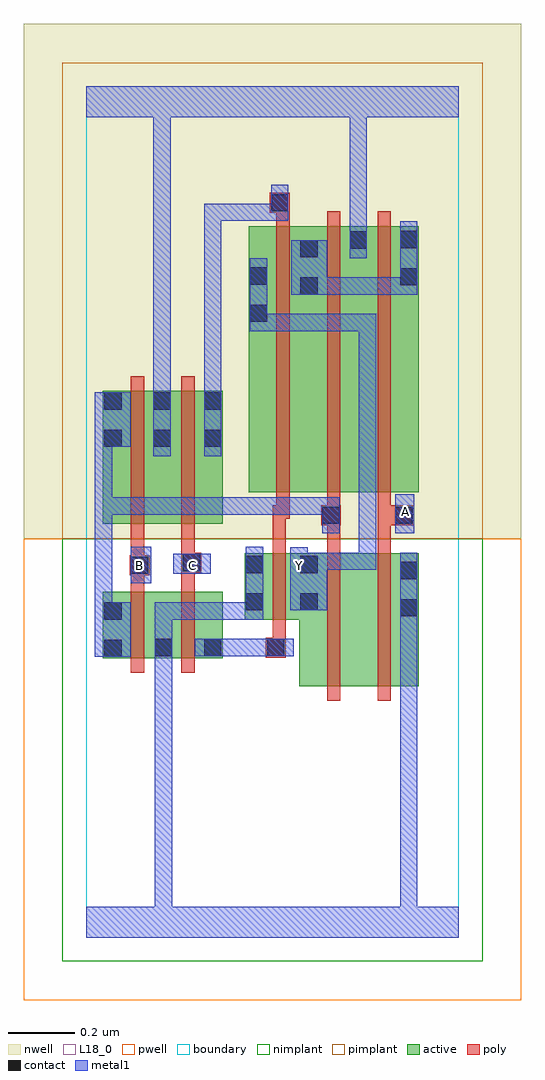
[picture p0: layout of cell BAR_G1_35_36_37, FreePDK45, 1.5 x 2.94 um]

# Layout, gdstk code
import gdstk
lib = gdstk.Library(unit=1e-6, precision=1e-09)
def R(c, l, rs):  # rectangles x0, y0, x1, y1
    for r in rs: c.add(gdstk.rectangle(r[:2], r[2:], *l))
def A(c, l, x, y, w, h, nx, ny, dx, dy):  # array of equal rectangles
    R(c, l, [(x+i*dx, y+j*dy, x+i*dx+w, y+j*dy+h) for i in range(nx) for j in range(ny)])
active = (1, 0)
pwell = (2, 0)
nwell = (3, 0)
nimplant = (4, 0)
pimplant = (5, 0)
poly = (9, 0)
contact = (10, 0)
metal1 = (11, 0)
L18_0 = (18, 0)
boundary = (235, 0)

bar_g1_35_36_37 = lib.new_cell('BAR_G1_35_36_37')
R(bar_g1_35_36_37, active, [(0.64,0.756,0.7,1.156), (0.64,0.756,0.82,1.156), (0.82,0.756,1,1.156), (0.94,0.756,1,1.156), (0.05,0.84,0.11,1.04), (0.05,0.84,0.262,1.04), (0.202,0.84,0.41,1.04), (0.202,0.84,0.262,0.902), (0.35,0.84,0.41,1.04), (0.476,0.956,0.7,1.156), (0.476,0.956,0.536,1.156), (0.05,1.244,0.11,1.644), (0.05,1.244,0.258,1.644), (0.198,1.244,0.258,1.644), (0.198,1.244,0.41,1.644), (0.35,1.244,0.41,1.644), (0.488,1.34,0.7,2.14), (0.488,1.34,0.548,2.044), (0.64,1.34,0.848,2.14), (0.788,1.34,1,2.14), (0.94,1.34,1,2.13), (0.64,1.624,0.7,2.14), (0.788,1.686,0.848,2.128)])
R(bar_g1_35_36_37, pwell, [(-0.188,-0.188,1.308,1.2)])
R(bar_g1_35_36_37, nwell, [(-0.188,1.2,1.308,2.748)])
R(bar_g1_35_36_37, nimplant, [(-0.072,-0.072,1.192,1.2)])
R(bar_g1_35_36_37, pimplant, [(-0.072,1.2,1.192,2.632)])
A(bar_g1_35_36_37, poly, 0.572, 1.26, 0.04, 0.076, 3, 1, 0.152, 0)
A(bar_g1_35_36_37, poly, 0.572, 1.296, 0.04, 0.888, 3, 1, 0.152, 0)
R(bar_g1_35_36_37, poly, [(0.724,0.712,0.764,1.2), (0.876,0.712,0.916,1.2), (0.134,0.796,0.174,1.084), (0.286,0.796,0.326,1.084), (0.54,0.842,0.6,0.902), (0.56,0.862,0.6,0.952), (0.56,0.912,0.6,1.2), (0.134,1.044,0.174,1.13), (0.286,1.044,0.326,1.138), (0.13,1.09,0.19,1.15), (0.286,1.098,0.346,1.158), (0.134,1.11,0.174,1.15), (0.134,1.11,0.174,1.15), (0.134,1.11,0.174,1.24), (0.286,1.118,0.326,1.158), (0.286,1.118,0.326,1.158), (0.286,1.118,0.326,1.24), (0.56,1.16,0.6,1.3), (0.724,1.16,0.764,1.28), (0.876,1.16,0.916,1.28), (0.134,1.2,0.174,1.688), (0.286,1.2,0.326,1.688), (0.706,1.24,0.766,1.3), (0.724,1.24,0.764,1.28), (0.724,1.24,0.764,1.28), (0.876,1.24,0.986,1.3), (0.56,1.26,0.6,1.3), (0.56,1.26,0.6,1.3), (0.56,1.26,0.612,1.3), (0.876,1.26,0.916,1.3), (0.876,1.26,0.916,1.3), (0.572,2.144,0.612,2.22), (0.552,2.18,0.612,2.24)])
R(bar_g1_35_36_37, contact, [(0.054,0.844,0.106,0.896), (0.206,0.846,0.258,0.898), (0.354,0.846,0.406,0.898), (0.544,0.846,0.596,0.898), (0.054,0.956,0.106,1.008), (0.944,0.966,0.996,1.018), (0.48,0.984,0.532,1.036), (0.644,0.984,0.696,1.036), (0.944,1.078,0.996,1.13), (0.134,1.094,0.186,1.146), (0.48,1.096,0.532,1.148), (0.644,1.096,0.696,1.148), (0.29,1.102,0.342,1.154), (0.71,1.244,0.762,1.296), (0.93,1.244,0.982,1.296), (0.054,1.476,0.106,1.528), (0.202,1.476,0.254,1.528), (0.354,1.476,0.406,1.528), (0.054,1.588,0.106,1.64), (0.202,1.588,0.254,1.64), (0.354,1.588,0.406,1.64), (0.492,1.852,0.544,1.904), (0.644,1.934,0.696,1.986), (0.944,1.962,0.996,2.014), (0.492,1.964,0.544,2.016), (0.644,2.046,0.696,2.098), (0.792,2.072,0.844,2.124), (0.944,2.074,0.996,2.126), (0.556,2.184,0.608,2.236)])
R(bar_g1_35_36_37, metal1, [(0,0,1.12,0.092), (0.206,0.04,0.258,0.092), (0.206,0.04,0.258,0.092), (0.206,0.04,0.258,0.092), (0.206,0.04,0.258,0.092), (0.206,0.04,0.258,0.092), (0.206,0.04,0.258,0.092), (0.206,0.04,0.258,0.092), (0.206,0.04,0.258,0.092), (0.206,0.04,0.258,0.092), (0.206,0.04,0.258,0.092), (0.206,0.04,0.258,0.092), (0.206,0.04,0.258,0.092), (0.206,0.04,0.258,0.092), (0.206,0.04,0.258,0.092), (0.206,0.04,0.258,0.092), (0.206,0.04,0.258,0.092), (0.206,0.04,0.258,0.87), (0.944,0.04,0.996,0.092), (0.944,0.04,0.996,0.092), (0.944,0.04,0.996,0.092), (0.944,0.04,0.996,0.092), (0.944,0.04,0.996,0.092), (0.944,0.04,0.996,0.092), (0.944,0.04,0.996,0.092), (0.944,0.04,0.996,0.092), (0.944,0.04,0.996,0.092), (0.944,0.04,0.996,0.092), (0.944,0.04,0.996,0.99), (0.206,0.818,0.258,0.926), (0.026,0.844,0.134,1.008), (0.326,0.846,0.434,0.898), (0.382,0.846,0.434,0.898), (0.382,0.846,0.434,0.898), (0.382,0.846,0.556,0.898), (0.504,0.846,0.556,0.898), (0.504,0.846,0.568,0.898), (0.516,0.846,0.624,0.898), (0.206,0.874,0.258,1.008), (0.944,0.938,0.996,0.99), (0.944,0.938,0.996,0.99), (0.944,0.938,0.996,1.158), (0.026,0.956,0.078,1.008), (0.026,0.956,0.078,1.008), (0.026,0.956,0.078,1.324), (0.206,0.956,0.258,1.008), (0.206,0.956,0.378,1.008), (0.326,0.956,0.378,1.008), (0.326,0.956,0.378,1.008), (0.326,0.956,0.378,1.008), (0.326,0.956,0.532,1.008), (0.48,0.956,0.532,1.176), (0.614,0.984,0.724,1.148), (0.134,1.066,0.196,1.176), (0.614,1.066,0.666,1.118), (0.614,1.066,0.666,1.174), (0.262,1.094,0.374,1.154), (0.614,1.106,0.872,1.158), (0.82,1.106,0.872,1.158), (0.82,1.106,0.872,1.158), (0.82,1.106,0.872,1.158), (0.82,1.106,0.872,1.158), (0.82,1.106,0.872,1.158), (0.82,1.106,0.872,1.876), (0.71,1.216,0.762,1.324), (0.93,1.216,0.986,1.334), (0.026,1.272,0.078,1.324), (0.026,1.272,0.078,1.324), (0.026,1.272,0.078,1.324), (0.026,1.272,0.268,1.324), (0.026,1.272,0.078,1.528), (0.216,1.272,0.268,1.324), (0.216,1.272,0.268,1.324), (0.216,1.272,0.268,1.324), (0.216,1.272,0.378,1.324), (0.326,1.272,0.378,1.324), (0.326,1.272,0.556,1.324), (0.504,1.272,0.556,1.324), (0.504,1.272,0.556,1.324), (0.504,1.272,0.556,1.324), (0.504,1.272,0.666,1.324), (0.614,1.272,0.666,1.324), (0.614,1.272,0.762,1.324), (0.202,1.448,0.254,1.668), (0.354,1.448,0.406,1.668), (0.026,1.476,0.134,1.64), (0.202,1.616,0.254,1.668), (0.202,1.616,0.254,1.668), (0.202,1.616,0.254,1.668), (0.202,1.616,0.254,1.668), (0.202,1.616,0.254,1.668), (0.202,1.616,0.254,1.668), (0.202,1.616,0.254,1.668), (0.202,1.616,0.254,1.668), (0.202,1.616,0.254,1.668), (0.202,1.616,0.254,1.668), (0.202,1.616,0.254,1.668), (0.202,1.616,0.254,1.668), (0.202,1.616,0.254,2.52), (0.354,1.616,0.406,2.208), (0.492,1.824,0.544,1.876), (0.492,1.824,0.544,1.876), (0.492,1.824,0.544,2.044), (0.492,1.824,0.666,1.876), (0.614,1.824,0.666,1.876), (0.614,1.824,0.872,1.876), (0.82,1.824,0.872,1.876), (0.82,1.824,0.872,1.876), (0.82,1.824,0.872,1.876), (0.616,1.934,0.724,2.098), (0.672,1.934,0.724,1.986), (0.672,1.934,0.724,1.986), (0.672,1.934,0.834,1.986), (0.782,1.934,0.834,1.986), (0.782,1.934,0.996,1.986), (0.944,1.934,0.996,1.986), (0.944,1.934,0.996,1.986), (0.944,1.934,0.996,2.154), (0.792,2.044,0.844,2.152), (0.792,2.1,0.844,2.52), (0.354,2.156,0.406,2.208), (0.354,2.156,0.406,2.208), (0.354,2.156,0.406,2.208), (0.354,2.156,0.406,2.208), (0.354,2.156,0.406,2.208), (0.354,2.156,0.406,2.208), (0.354,2.156,0.406,2.208), (0.354,2.156,0.488,2.208), (0.436,2.156,0.488,2.208), (0.436,2.156,0.488,2.208), (0.436,2.156,0.488,2.208), (0.436,2.156,0.608,2.208), (0.556,2.156,0.608,2.264), (0,2.468,1.12,2.56), (0.202,2.468,0.254,2.52), (0.202,2.468,0.254,2.52), (0.202,2.468,0.254,2.52), (0.202,2.468,0.254,2.52), (0.792,2.468,0.844,2.52), (0.792,2.468,0.844,2.52), (0.792,2.468,0.844,2.52), (0.792,2.468,0.844,2.52), (0.792,2.468,0.844,2.52), (0.792,2.468,0.844,2.52), (0.792,2.468,0.844,2.52), (0.792,2.468,0.844,2.52)])
R(bar_g1_35_36_37, L18_0, [(0,0,1.12,0.092), (0.206,0.04,0.258,0.092), (0.206,0.04,0.258,0.092), (0.206,0.04,0.258,0.092), (0.206,0.04,0.258,0.092), (0.206,0.04,0.258,0.092), (0.206,0.04,0.258,0.092), (0.206,0.04,0.258,0.092), (0.206,0.04,0.258,0.092), (0.206,0.04,0.258,0.092), (0.206,0.04,0.258,0.092), (0.206,0.04,0.258,0.092), (0.206,0.04,0.258,0.092), (0.206,0.04,0.258,0.092), (0.206,0.04,0.258,0.092), (0.206,0.04,0.258,0.092), (0.206,0.04,0.258,0.092), (0.206,0.04,0.258,0.87), (0.944,0.04,0.996,0.092), (0.944,0.04,0.996,0.092), (0.944,0.04,0.996,0.092), (0.944,0.04,0.996,0.092), (0.944,0.04,0.996,0.092), (0.944,0.04,0.996,0.092), (0.944,0.04,0.996,0.092), (0.944,0.04,0.996,0.092), (0.944,0.04,0.996,0.092), (0.944,0.04,0.996,0.092), (0.944,0.04,0.996,0.99), (0.206,0.818,0.258,0.926), (0.206,0.874,0.258,1.008), (0.944,0.938,0.996,0.99), (0.944,0.938,0.996,0.99), (0.944,0.938,0.996,1.158), (0.206,0.956,0.258,1.008), (0.206,0.956,0.378,1.008), (0.326,0.956,0.378,1.008), (0.326,0.956,0.378,1.008), (0.326,0.956,0.378,1.008), (0.326,0.956,0.532,1.008), (0.48,0.956,0.532,1.176), (0.614,0.984,0.724,1.148), (0.134,1.066,0.196,1.176), (0.614,1.066,0.666,1.118), (0.614,1.066,0.666,1.174), (0.134,1.094,0.186,1.146), (0.262,1.094,0.374,1.154), (0.294,1.094,0.346,1.146), (0.614,1.094,0.666,1.146), (0.614,1.106,0.872,1.158), (0.82,1.106,0.872,1.158), (0.82,1.106,0.872,1.158), (0.82,1.106,0.872,1.158), (0.82,1.106,0.872,1.158), (0.82,1.106,0.872,1.158), (0.82,1.106,0.872,1.876), (0.93,1.216,0.986,1.334), (0.934,1.254,0.986,1.306), (0.202,1.448,0.254,1.668), (0.202,1.616,0.254,1.668), (0.202,1.616,0.254,1.668), (0.202,1.616,0.254,1.668), (0.202,1.616,0.254,1.668), (0.202,1.616,0.254,1.668), (0.202,1.616,0.254,1.668), (0.202,1.616,0.254,1.668), (0.202,1.616,0.254,1.668), (0.202,1.616,0.254,1.668), (0.202,1.616,0.254,1.668), (0.202,1.616,0.254,1.668), (0.202,1.616,0.254,1.668), (0.202,1.616,0.254,2.52), (0.492,1.824,0.544,1.876), (0.492,1.824,0.544,1.876), (0.492,1.824,0.544,2.044), (0.492,1.824,0.666,1.876), (0.614,1.824,0.666,1.876), (0.614,1.824,0.872,1.876), (0.82,1.824,0.872,1.876), (0.82,1.824,0.872,1.876), (0.82,1.824,0.872,1.876), (0.792,2.044,0.844,2.152), (0.792,2.1,0.844,2.52), (0,2.468,1.12,2.56), (0.202,2.468,0.254,2.52), (0.202,2.468,0.254,2.52), (0.202,2.468,0.254,2.52), (0.202,2.468,0.254,2.52), (0.792,2.468,0.844,2.52), (0.792,2.468,0.844,2.52), (0.792,2.468,0.844,2.52), (0.792,2.468,0.844,2.52), (0.792,2.468,0.844,2.52), (0.792,2.468,0.844,2.52), (0.792,2.468,0.844,2.52), (0.792,2.468,0.844,2.52)])
R(bar_g1_35_36_37, boundary, [(0,0,1.12,2.56)])
bar_g1_35_36_37.add(gdstk.Label('A', (0.96,1.28), layer=11, texttype=0))
bar_g1_35_36_37.add(gdstk.Label('B', (0.16,1.12), layer=11, texttype=0))
bar_g1_35_36_37.add(gdstk.Label('C', (0.32,1.12), layer=11, texttype=0))
bar_g1_35_36_37.add(gdstk.Label('Y', (0.64,1.12), layer=11, texttype=0))

lib.write_gds('BAR_G1_35_36_37.gds')
